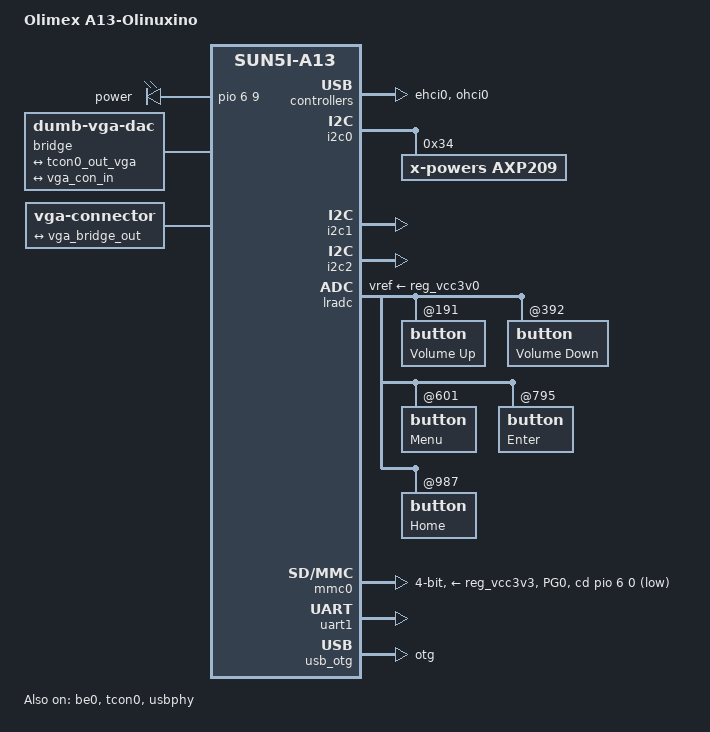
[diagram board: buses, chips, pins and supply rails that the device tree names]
/*
 * Copyright 2012 Maxime Ripard
 *
 * Maxime Ripard <maxime.ripard@free-electrons.com>
 *
 * This file is dual-licensed: you can use it either under the terms
 * of the GPL or the X11 license, at your option. Note that this dual
 * licensing only applies to this file, and not this project as a
 * whole.
 *
 *  a) This file is free software; you can redistribute it and/or
 *     modify it under the terms of the GNU General Public License as
 *     published by the Free Software Foundation; either version 2 of the
 *     License, or (at your option) any later version.
 *
 *     This file is distributed in the hope that it will be useful,
 *     but WITHOUT ANY WARRANTY; without even the implied warranty of
 *     MERCHANTABILITY or FITNESS FOR A PARTICULAR PURPOSE.  See the
 *     GNU General Public License for more details.
 *
 * Or, alternatively,
 *
 *  b) Permission is hereby granted, free of charge, to any person
 *     obtaining a copy of this software and associated documentation
 *     files (the "Software"), to deal in the Software without
 *     restriction, including without limitation the rights to use,
 *     copy, modify, merge, publish, distribute, sublicense, and/or
 *     sell copies of the Software, and to permit persons to whom the
 *     Software is furnished to do so, subject to the following
 *     conditions:
 *
 *     The above copyright notice and this permission notice shall be
 *     included in all copies or substantial portions of the Software.
 *
 *     THE SOFTWARE IS PROVIDED "AS IS", WITHOUT WARRANTY OF ANY KIND,
 *     EXPRESS OR IMPLIED, INCLUDING BUT NOT LIMITED TO THE WARRANTIES
 *     OF MERCHANTABILITY, FITNESS FOR A PARTICULAR PURPOSE AND
 *     NONINFRINGEMENT. IN NO EVENT SHALL THE AUTHORS OR COPYRIGHT
 *     HOLDERS BE LIABLE FOR ANY CLAIM, DAMAGES OR OTHER LIABILITY,
 *     WHETHER IN AN ACTION OF CONTRACT, TORT OR OTHERWISE, ARISING
 *     FROM, OUT OF OR IN CONNECTION WITH THE SOFTWARE OR THE USE OR
 *     OTHER DEALINGS IN THE SOFTWARE.
 */

/dts-v1/;
#include "sun5i-a13.dtsi"
#include "sunxi-common-regulators.dtsi"

#include <dt-bindings/gpio/gpio.h>
#include <dt-bindings/input/input.h>
#include <dt-bindings/pinctrl/sun4i-a10.h>

/ {
	model = "Olimex A13-Olinuxino";
	compatible = "olimex,a13-olinuxino", "allwinner,sun5i-a13";

	aliases {
		serial0 = &uart1;
	};

	chosen {
		stdout-path = "serial0:115200n8";
	};

	leds {
		compatible = "gpio-leds";
		pinctrl-names = "default";
		pinctrl-0 = <&led_pins_olinuxino>;

		power {
			gpios = <&pio 6 9 GPIO_ACTIVE_HIGH>;
			default-state = "on";
		};
	};

	bridge {
		compatible = "dumb-vga-dac";
		#address-cells = <1>;
		#size-cells = <0>;

		ports {
			#address-cells = <1>;
			#size-cells = <0>;

			port@0 {
				reg = <0>;

				vga_bridge_in: endpoint {
					remote-endpoint = <&tcon0_out_vga>;
				};
			};

			port@1 {
				reg = <1>;

				vga_bridge_out: endpoint {
					remote-endpoint = <&vga_con_in>;
				};
			};
		};
	};

	vga {
		compatible = "vga-connector";

		port {
			vga_con_in: endpoint {
				remote-endpoint = <&vga_bridge_out>;
			};
		};
	};
};

&be0 {
	status = "okay";
};

&ehci0 {
	status = "okay";
};

&i2c0 {
	pinctrl-names = "default";
	pinctrl-0 = <&i2c0_pins_a>;
	status = "okay";

	axp209: pmic@34 {
		compatible = "x-powers,axp209";
		reg = <0x34>;
		interrupts = <0>;

		interrupt-controller;
		#interrupt-cells = <1>;
	};
};

&i2c1 {
	pinctrl-names = "default";
	pinctrl-0 = <&i2c1_pins_a>;
	status = "okay";
};

&i2c2 {
	pinctrl-names = "default";
	pinctrl-0 = <&i2c2_pins_a>;
	status = "okay";
};

&lradc {
	vref-supply = <&reg_vcc3v0>;
	status = "okay";

	button@191 {
		label = "Volume Up";
		linux,code = <KEY_VOLUMEUP>;
		channel = <0>;
		voltage = <191274>;
	};

	button@392 {
		label = "Volume Down";
		linux,code = <KEY_VOLUMEDOWN>;
		channel = <0>;
		voltage = <392644>;
	};

	button@601 {
		label = "Menu";
		linux,code = <KEY_MENU>;
		channel = <0>;
		voltage = <601151>;
	};

	button@795 {
		label = "Enter";
		linux,code = <KEY_ENTER>;
		channel = <0>;
		voltage = <795090>;
	};

	button@987 {
		label = "Home";
		linux,code = <KEY_HOMEPAGE>;
		channel = <0>;
		voltage = <987387>;
	};
};

&mmc0 {
	pinctrl-names = "default";
	pinctrl-0 = <&mmc0_pins_a>, <&mmc0_cd_pin_olinuxino>;
	vmmc-supply = <&reg_vcc3v3>;
	bus-width = <4>;
	cd-gpios = <&pio 6 0 GPIO_ACTIVE_HIGH>; /* PG0 */
	cd-inverted;
	status = "okay";
};

&ohci0 {
	status = "okay";
};

&otg_sram {
	status = "okay";
};

&pio {
	mmc0_cd_pin_olinuxino: mmc0_cd_pin@0 {
		pins = "PG0";
		function = "gpio_in";
		bias-pull-up;
	};

	led_pins_olinuxino: led_pins@0 {
		pins = "PG9";
		function = "gpio_out";
		drive-strength = <20>;
	};

	usb0_id_detect_pin: usb0_id_detect_pin@0 {
		pins = "PG2";
		function = "gpio_in";
		bias-pull-up;
	};

	usb0_vbus_detect_pin: usb0_vbus_detect_pin@0 {
		pins = "PG1";
		function = "gpio_in";
		bias-pull-down;
	};

	usb1_vbus_pin_olinuxino: usb1_vbus_pin@0 {
		pins = "PG11";
		function = "gpio_out";
	};
};

&reg_usb0_vbus {
	status = "okay";
	gpio = <&pio 6 12 GPIO_ACTIVE_HIGH>; /* PG12 */
};

&reg_usb1_vbus {
	pinctrl-0 = <&usb1_vbus_pin_olinuxino>;
	gpio = <&pio 6 11 GPIO_ACTIVE_HIGH>;
	status = "okay";
};

&tcon0 {
	pinctrl-names = "default";
	pinctrl-0 = <&lcd_rgb666_pins>;
	status = "okay";
};

&tcon0_out {
	tcon0_out_vga: endpoint@0 {
		reg = <0>;
		remote-endpoint = <&vga_bridge_in>;
	};
};

&uart1 {
	pinctrl-names = "default";
	pinctrl-0 = <&uart1_pins_b>;
	status = "okay";
};

&usb_otg {
	dr_mode = "otg";
	status = "okay";
};

&usb0_vbus_pin_a {
	pins = "PG12";
};

&usbphy {
	pinctrl-names = "default";
	pinctrl-0 = <&usb0_id_detect_pin>, <&usb0_vbus_detect_pin>;
	usb0_id_det-gpio = <&pio 6 2 GPIO_ACTIVE_HIGH>; /* PG2 */
	usb0_vbus_det-gpio = <&pio 6 1 GPIO_ACTIVE_HIGH>; /* PG1 */
	usb0_vbus-supply = <&reg_usb0_vbus>;
	usb1_vbus-supply = <&reg_usb1_vbus>;
	status = "okay";
};
